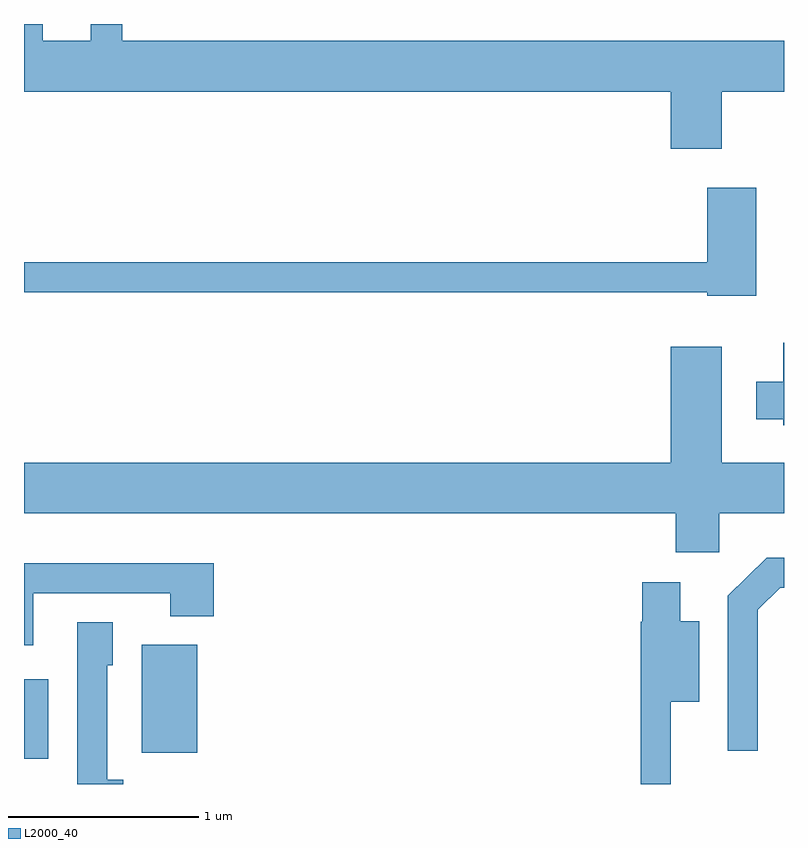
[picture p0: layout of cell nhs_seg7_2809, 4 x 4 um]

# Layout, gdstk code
import gdstk
lib = gdstk.Library(unit=1e-6, precision=1e-09)
def R(c, l, rs):  # rectangles x0, y0, x1, y1
    for r in rs: c.add(gdstk.rectangle(r[:2], r[2:], *l))
def P(c, l, *ps):  # polygons
    for p in ps: c.add(gdstk.Polygon(p, *l))
L2000_40 = (2000, 40)

nhs_seg7_2809 = lib.new_cell('nhs_seg7_2809')
R(nhs_seg7_2809, L2000_40, [(271.611,1686.386,271.739,1686.804), (272.231,1686.416,272.524,1686.984)])
P(nhs_seg7_2809, L2000_40, [(275.284,1689.896),(275.611,1689.896),(275.611,1690.164),(272.129,1690.164),(272.129,1690.252),(271.961,1690.252),(271.961,1690.164),(271.709,1690.164),(271.709,1690.252),(271.611,1690.252),(271.611,1689.896),(275.016,1689.896),(275.016,1689.596),(275.284,1689.596)],
  [(275.464,1689.389),(275.206,1689.389),(275.206,1688.999),(271.611,1688.999),(271.611,1688.841),(275.206,1688.841),(275.206,1688.821),(275.464,1688.821)],
  [(275.611,1688.574),(275.606,1688.574),(275.606,1688.369),(275.466,1688.369),(275.466,1688.171),(275.606,1688.171),(275.606,1688.141),(275.611,1688.141)],
  [(275.269,1687.676),(275.611,1687.676),(275.611,1687.944),(275.284,1687.944),(275.284,1688.554),(275.016,1688.554),(275.016,1687.944),(271.611,1687.944),(271.611,1687.676),(275.041,1687.676),(275.041,1687.471),(275.269,1687.471)],
  [(275.474,1687.169),(275.592,1687.286),(275.611,1687.286),(275.611,1687.444),(275.519,1687.444),(275.316,1687.242),(275.316,1686.428),(275.474,1686.428)],
  [(271.659,1687.256),(272.381,1687.256),(272.381,1687.136),(272.609,1687.136),(272.609,1687.414),(271.611,1687.414),(271.611,1686.981),(271.659,1686.981)],
  [(275.014,1686.686),(275.164,1686.686),(275.164,1687.109),(275.064,1687.109),(275.064,1687.314),(274.866,1687.314),(274.866,1687.105),(274.856,1687.105),(274.856,1686.252),(275.014,1686.252)],
  [(272.134,1686.274),(272.049,1686.274),(272.049,1686.876),(272.079,1686.876),(272.079,1687.104),(271.891,1687.104),(271.891,1686.252),(272.134,1686.252)])

lib.write_gds('nhs_seg7_2809.gds')
